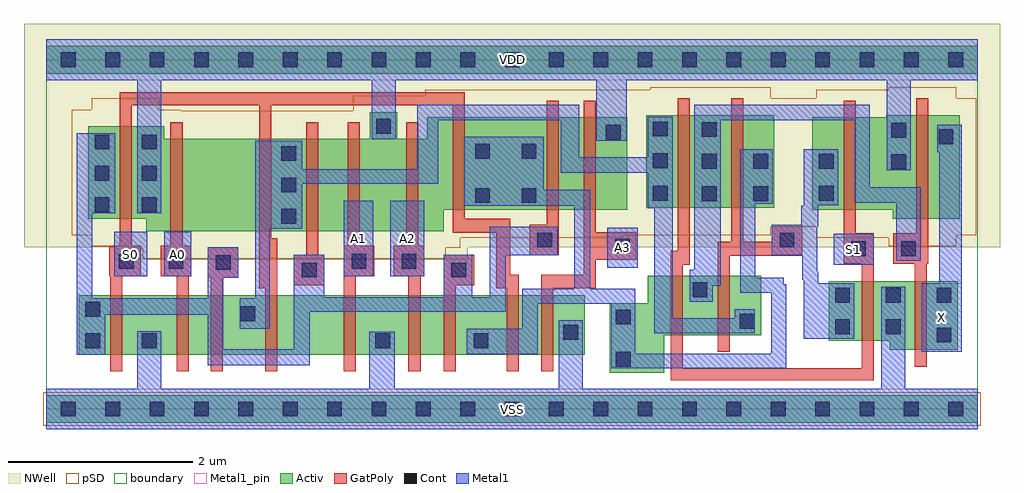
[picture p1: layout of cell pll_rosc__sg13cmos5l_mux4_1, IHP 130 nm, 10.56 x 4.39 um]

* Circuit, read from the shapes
.subckt pll_rosc__sg13cmos5l_mux4_1 A0 A1 A2 A3 S0 S1 VDD VSS X
XM1 VSS S0 n1 VSS sg13_lv_nmos w=0.64u l=0.13u
XM2 n2 A0 VSS VSS sg13_lv_nmos w=0.64u l=0.13u
XM3 n3 n1 n2 VSS sg13_lv_nmos w=0.64u l=0.13u
XM4 n4 S0 n3 VSS sg13_lv_nmos w=0.64u l=0.13u
XM5 VSS A1 n4 VSS sg13_lv_nmos w=0.64u l=0.13u
XM6 n5 A2 VSS VSS sg13_lv_nmos w=0.64u l=0.13u
XM7 n6 n1 n5 VSS sg13_lv_nmos w=0.64u l=0.13u
XM8 n7 S0 n6 VSS sg13_lv_nmos w=0.64u l=0.13u
XM9 VSS A3 n7 VSS sg13_lv_nmos w=0.64u l=0.13u
XM10 n8 S1 n6 VSS sg13_lv_nmos w=0.64u l=0.13u
XM11 n3 n9 n8 VSS sg13_lv_nmos w=0.64u l=0.13u
XM12 VSS S1 n9 VSS sg13_lv_nmos w=0.64u l=0.13u
XM13 X n8 VSS VSS sg13_lv_nmos w=0.74u l=0.13u
XM14 VDD S0 n1 VDD sg13_lv_pmos w=1u l=0.13u
XM15 n10 A0 VDD VDD sg13_lv_pmos w=1u l=0.13u
XM16 n3 S0 n10 VDD sg13_lv_pmos w=1u l=0.13u
XM17 n11 n1 n3 VDD sg13_lv_pmos w=1u l=0.13u
XM18 VDD A1 n11 VDD sg13_lv_pmos w=1u l=0.13u
XM19 n12 A2 VDD VDD sg13_lv_pmos w=1u l=0.13u
XM20 n6 S0 n12 VDD sg13_lv_pmos w=1u l=0.13u
XM21 n13 n1 n6 VDD sg13_lv_pmos w=1u l=0.13u
XM22 VDD A3 n13 VDD sg13_lv_pmos w=1u l=0.13u
XM23 n8 S1 n3 VDD sg13_lv_pmos w=1u l=0.13u
XM24 n6 n9 n8 VDD sg13_lv_pmos w=1u l=0.13u
XM25 VDD S1 n9 VDD sg13_lv_pmos w=1u l=0.13u
XM26 X n8 VDD VDD sg13_lv_pmos w=1.12u l=0.13u
.ends

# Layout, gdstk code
import gdstk
lib = gdstk.Library(unit=1e-6, precision=1e-09)
def R(c, l, rs):  # rectangles x0, y0, x1, y1
    for r in rs: c.add(gdstk.rectangle(r[:2], r[2:], *l))
def A(c, l, x, y, w, h, nx, ny, dx, dy):  # array of equal rectangles
    R(c, l, [(x+i*dx, y+j*dy, x+i*dx+w, y+j*dy+h) for i in range(nx) for j in range(ny)])
Activ = (1, 0)
GatPoly = (5, 0)
Cont = (6, 0)
Metal1 = (8, 0)
Metal1_pin = (8, 2)
pSD = (14, 0)
NWell = (31, 0)
boundary = (189, 4)

pll_rosc__sg13cmos5l_mux = lib.new_cell('pll_rosc__sg13cmos5l_mux4_1')
R(pll_rosc__sg13cmos5l_mux, Activ, [(0,-0.15,10.08,0.15), (6.095,0.39,6.685,0.8), (0.355,0.59,5.825,1.23), (9.125,0.64,9.865,0.74), (8.465,0.74,9.865,1.38), (6.095,0.8,7.735,1.145), (6.51,1.145,7.735,1.44), (1.08,1.925,4.3,2.06), (0.455,2.06,4.3,2.155), (9.16,2.06,9.885,2.155), (0.455,2.155,6.285,2.925), (8.29,2.155,9.885,3.155), (6.495,2.18,7.88,3.18), (0.455,2.925,1.275,3.06), (3.5,2.925,3.8,3.21), (4.125,2.925,6.285,3.155), (9.09,3.155,9.885,3.18), (0,3.63,10.08,3.93)])
R(pll_rosc__sg13cmos5l_mux, GatPoly, [(6.755,0.31,8.955,0.44), (0.695,0.41,0.825,1.435), (1.41,0.41,1.54,1.435), (1.78,0.41,1.91,1.42), (2.37,0.41,2.5,1.305), (3.22,0.41,3.35,1.435), (3.92,0.41,4.05,1.435), (4.3,0.41,4.43,1.34), (4.985,0.41,5.115,1.305), (5.355,0.41,5.485,1.305), (6.755,0.44,6.885,1.56), (8.825,0.44,8.955,1.57), (9.395,0.46,9.525,1.57), (7.265,0.62,7.395,1.66), (2.305,1.305,2.5,1.85), (4.87,1.305,5.115,1.455), (5.355,1.305,5.945,1.455), (2.68,1.34,3.01,1.67), (4.3,1.34,4.63,1.67), (1.75,1.42,2.08,1.75), (0.685,1.435,1.025,1.765), (1.24,1.435,1.57,1.765), (3.22,1.435,3.55,1.765), (3.76,1.435,4.09,1.765), (4.87,1.455,5.02,1.91), (5.815,1.455,5.945,1.615), (6.755,1.56,6.965,1.71), (8.63,1.57,8.955,1.9), (9.165,1.57,9.545,1.9), (5.815,1.615,6.385,1.915), (7.265,1.66,8.18,1.81), (5.23,1.665,5.545,1.995), (2.815,1.67,2.945,3.105), (6.835,1.71,6.965,3.36), (0.795,1.765,0.925,3.285), (1.345,1.765,1.475,3.105), (3.265,1.765,3.395,3.105), (3.895,1.765,4.025,3.105), (7.41,1.81,7.54,3.36), (7.85,1.81,8.18,1.995), (2.305,1.85,2.435,3.285), (8.63,1.9,8.76,3.335), (9.415,1.9,9.545,3.36), (4.4,1.91,5.02,2.06), (5.815,1.915,5.945,3.335), (5.415,1.995,5.545,3.335), (4.4,2.06,4.53,3.285), (0.795,3.285,4.53,3.425)])
A(pll_rosc__sg13cmos5l_mux, Cont, 0.16, -0.08, 0.16, 0.16, 21, 2, 0.48, 3.78)
A(pll_rosc__sg13cmos5l_mux, Cont, 8.535, 1.15, 0.16, 0.16, 3, 1, 0.55, 0)
A(pll_rosc__sg13cmos5l_mux, Cont, 2.545, 2.005, 0.16, 0.16, 1, 3, 0, 0.34)
A(pll_rosc__sg13cmos5l_mux, Cont, 0.525, 2.13, 0.16, 0.16, 1, 3, 0, 0.34)
A(pll_rosc__sg13cmos5l_mux, Cont, 1.035, 2.13, 0.16, 0.16, 1, 3, 0, 0.34)
R(pll_rosc__sg13cmos5l_mux, Cont, [(6.165,0.46,6.325,0.62), (0.425,0.66,0.585,0.82), (1.035,0.66,1.195,0.82), (3.56,0.66,3.72,0.82), (4.625,0.66,4.785,0.82), (9.635,0.72,9.795,0.88), (5.595,0.75,5.755,0.91), (8.535,0.81,8.695,0.97), (9.085,0.81,9.245,0.97), (7.505,0.87,7.665,1.03), (6.165,0.915,6.325,1.075), (2.1,0.95,2.26,1.11), (0.425,1,0.585,1.16), (6.995,1.21,7.155,1.37), (2.765,1.425,2.925,1.585), (4.385,1.425,4.545,1.585), (1.835,1.505,1.995,1.665), (0.785,1.52,0.945,1.68), (1.325,1.52,1.485,1.68), (3.305,1.52,3.465,1.68), (3.845,1.52,4.005,1.68), (8.71,1.655,8.87,1.815), (9.25,1.655,9.41,1.815), (6.155,1.685,6.315,1.845), (5.315,1.75,5.475,1.91), (7.935,1.75,8.095,1.91), (4.64,2.23,4.8,2.39), (5.145,2.23,5.305,2.39), (7.095,2.25,7.255,2.41), (7.65,2.25,7.81,2.41), (6.565,2.255,6.725,2.415), (8.36,2.255,8.52,2.415), (9.145,2.595,9.305,2.755), (7.095,2.6,7.255,2.76), (7.65,2.6,7.81,2.76), (8.36,2.6,8.52,2.76), (6.565,2.605,6.725,2.765), (4.64,2.71,4.8,2.87), (5.145,2.71,5.305,2.87), (9.655,2.865,9.815,3.025), (6.055,2.915,6.215,3.075), (9.145,2.935,9.305,3.095), (7.095,2.945,7.255,3.105), (6.565,2.95,6.725,3.11), (3.57,2.98,3.73,3.14)])
R(pll_rosc__sg13cmos5l_mux, Metal1, [(0,-0.22,10.08,0.22), (0.985,0.22,1.245,0.84), (3.495,0.22,3.77,0.835), (5.545,0.22,5.805,0.96), (9.035,0.22,9.295,1.325), (6.115,0.44,8.005,0.6), (1.75,0.475,2.85,0.645), (0.33,0.59,0.64,1.02), (4.55,0.595,5.32,0.87), (6.115,0.6,6.375,1.14), (7.845,0.6,8.005,1.26), (9.475,0.62,9.905,1.36), (1.75,0.645,1.915,1.02), (2.68,0.645,2.85,1.05), (8.195,0.76,8.745,1.36), (6.58,0.82,7.665,0.98), (2.095,0.87,2.42,1.2), (5.15,0.87,5.32,1.14), (6.58,0.98,6.78,2.17), (7.45,0.98,7.665,1.08), (0.33,1.02,1.915,1.2), (2.68,1.05,4.97,1.21), (5.15,1.14,6.375,1.3), (6.965,1.16,7.21,1.335), (0.33,1.2,0.5,2.12), (1.75,1.2,1.915,1.42), (2.26,1.2,2.42,1.95), (2.68,1.21,3.01,1.67), (4.3,1.21,4.61,1.67), (4.8,1.21,4.97,1.665), (7.51,1.26,8.005,1.35), (5.715,1.3,5.885,2.2), (6.965,1.335,7.3,1.505), (7.51,1.35,7.98,1.42), (8.195,1.36,8.355,1.4), (9.665,1.36,9.905,2.78), (8.18,1.4,8.355,1.485), (1.75,1.42,2.08,1.75), (7.51,1.42,7.67,2.22), (0.735,1.435,1.095,1.92), (1.275,1.435,1.57,1.92), (3.22,1.435,3.54,2.255), (3.72,1.435,4.09,2.255), (8.18,1.485,8.34,1.665), (7.01,1.505,7.3,3.125), (6.07,1.53,6.4,1.96), (8.52,1.56,8.955,1.895), (9.2,1.605,9.46,2.23), (4.8,1.665,5.535,1.97), (7.85,1.665,8.34,1.97), (2.26,1.95,2.77,2.435), (7.85,1.97,8.355,1.995), (8.17,1.995,8.355,2.2), (0.33,2.12,0.745,2.985), (0.985,2.12,1.245,3.56), (6.51,2.17,6.78,2.555), (4.525,2.2,5.885,2.37), (8.195,2.2,8.355,2.205), (8.195,2.205,8.57,2.81), (7.51,2.22,7.86,2.81), (8.75,2.23,9.46,2.4), (4.525,2.37,5.385,2.945), (8.75,2.4,8.91,3.125), (2.26,2.435,4.24,2.595), (5.57,2.555,6.78,2.725), (9.095,2.585,9.355,3.56), (2.26,2.595,2.77,2.905), (4.015,2.595,4.24,3.125), (5.57,2.725,5.77,3.125), (6.51,2.725,6.78,3.16), (9.64,2.78,9.905,3.075), (5.95,2.905,6.28,3.56), (3.52,2.92,3.78,3.56), (4.015,3.125,5.77,3.295), (7.01,3.125,8.91,3.295), (0,3.56,10.08,4)])
R(pll_rosc__sg13cmos5l_mux, Metal1_pin, [(0,-0.22,10.08,0.22), (9.475,0.62,9.905,1.36), (0.735,1.435,1.095,1.92), (1.275,1.435,1.57,1.92), (3.22,1.435,3.54,2.255), (3.72,1.435,4.09,2.255), (6.07,1.53,6.4,1.96), (8.52,1.56,8.955,1.895), (0,3.56,10.08,4)])
R(pll_rosc__sg13cmos5l_mux, pSD, [(-0.03,-0.18,10.11,0.18), (1.045,1.625,4.325,1.745), (0.9,1.745,4.48,1.76), (0.495,1.76,4.48,1.855), (9.115,1.76,9.845,1.855), (0.495,1.855,6.245,1.88), (8.33,1.855,9.845,1.88), (0.275,1.88,7.84,1.975), (8.33,1.88,10.065,1.975), (0.275,1.975,10.065,3.225), (0.275,3.225,1.455,3.24), (3.32,3.225,10.065,3.36), (0.495,3.24,1.225,3.36), (3.32,3.36,7.84,3.39), (8.33,3.36,9.845,3.455), (4.1,3.39,7.84,3.455), (6.535,3.455,7.84,3.48), (9.115,3.455,9.845,3.48)])
R(pll_rosc__sg13cmos5l_mux, NWell, [(0.74,1.615,4.56,1.75), (-0.24,1.75,10.32,4.17)])
R(pll_rosc__sg13cmos5l_mux, boundary, [(0,0,10.08,3.78)])
pll_rosc__sg13cmos5l_mux.add(gdstk.Label('X', (9.69,0.99), layer=8, texttype=25))
pll_rosc__sg13cmos5l_mux.add(gdstk.Label('A1', (3.38,1.845), layer=8, texttype=25))
pll_rosc__sg13cmos5l_mux.add(gdstk.Label('A2', (3.905,1.845), layer=8, texttype=25))
pll_rosc__sg13cmos5l_mux.add(gdstk.Label('S0', (0.915,1.677), layer=8, texttype=25))
pll_rosc__sg13cmos5l_mux.add(gdstk.Label('VDD', (5.04,3.78), layer=8, texttype=25))
pll_rosc__sg13cmos5l_mux.add(gdstk.Label('VSS', (5.04,0), layer=8, texttype=25))
pll_rosc__sg13cmos5l_mux.add(gdstk.Label('S1', (8.737,1.727), layer=8, texttype=25))
pll_rosc__sg13cmos5l_mux.add(gdstk.Label('A0', (1.422,1.677), layer=8, texttype=25))
pll_rosc__sg13cmos5l_mux.add(gdstk.Label('A3', (6.235,1.745), layer=8, texttype=25))

lib.write_gds('pll_rosc__sg13cmos5l_mux4_1.gds')
